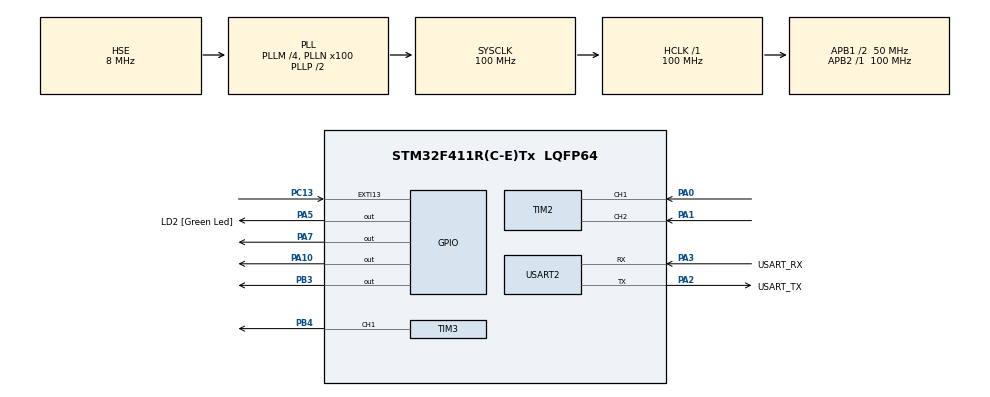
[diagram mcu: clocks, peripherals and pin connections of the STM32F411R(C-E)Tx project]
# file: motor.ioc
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Dma.Request0=USART2_TX
Dma.Request1=USART2_RX
Dma.USART2_RX.1.Direction=DMA_PERIPH_TO_MEMORY
Dma.USART2_RX.1.FIFOMode=DMA_FIFOMODE_DISABLE
Dma.USART2_RX.1.Instance=DMA1_Stream5
Dma.USART2_RX.1.MemDataAlignment=DMA_MDATAALIGN_BYTE
Dma.USART2_RX.1.MemInc=DMA_MINC_ENABLE
Dma.USART2_RX.1.Mode=DMA_NORMAL
Dma.USART2_RX.1.PeriphDataAlignment=DMA_PDATAALIGN_BYTE
Dma.USART2_RX.1.PeriphInc=DMA_PINC_DISABLE
Dma.USART2_RX.1.Priority=DMA_PRIORITY_HIGH
Dma.USART2_TX.0.Direction=DMA_MEMORY_TO_PERIPH
Dma.USART2_TX.0.FIFOMode=DMA_FIFOMODE_DISABLE
Dma.USART2_TX.0.Instance=DMA1_Stream6
Dma.USART2_TX.0.MemDataAlignment=DMA_MDATAALIGN_BYTE
Dma.USART2_TX.0.MemInc=DMA_MINC_ENABLE
Dma.USART2_TX.0.Mode=DMA_NORMAL
Dma.USART2_TX.0.PeriphDataAlignment=DMA_PDATAALIGN_BYTE
Dma.USART2_TX.0.PeriphInc=DMA_PINC_DISABLE
Dma.USART2_TX.0.Priority=DMA_PRIORITY_LOW
Mcu.Family=STM32F4
Mcu.Name=STM32F411R(C-E)Tx
Mcu.Package=LQFP64
NVIC.DMA1_Stream5_IRQn=true\:0\:0\:false\:false\:true\:false\:true\:true
NVIC.DMA1_Stream6_IRQn=true\:0\:0\:false\:false\:true\:false\:true\:true
NVIC.EXTI15_10_IRQn=true\:0\:0\:false\:false\:true\:true\:true\:true
NVIC.PriorityGroup=NVIC_PRIORITYGROUP_4
NVIC.TIM3_IRQn=true\:0\:0\:false\:false\:true\:true\:true\:true
NVIC.TIM4_IRQn=true\:0\:0\:false\:false\:true\:true\:true\:true
NVIC.USART2_IRQn=true\:0\:0\:false\:false\:true\:true\:true\:true
PA0-WKUP.Signal=S_TIM2_CH1_ETR
PA1.Signal=S_TIM2_CH2
PA10.Signal=GPIO_Output
PA13.Mode=Serial_Wire
PA13.Signal=SYS_JTMS-SWDIO
PA14.Mode=Serial_Wire
PA14.Signal=SYS_JTCK-SWCLK
PA2.GPIO_Label=USART_TX
PA2.Mode=Asynchronous
PA2.Signal=USART2_TX
PA3.GPIO_Label=USART_RX
PA3.Mode=Asynchronous
PA3.Signal=USART2_RX
PA5.GPIO_Label=LD2 [Green Led]
PA5.Signal=GPIO_Output
PA7.Signal=GPIO_Output
PB3.Signal=GPIO_Output
PB4.Signal=S_TIM3_CH1
PC13-ANTI_TAMP.Signal=GPXTI13
PH0\ -\ OSC_IN.Mode=HSE-External-Clock-Source
PH0\ -\ OSC_IN.Signal=RCC_OSC_IN
PH1\ -\ OSC_OUT.Mode=HSE-External-Clock-Source
PH1\ -\ OSC_OUT.Signal=RCC_OSC_OUT
ProjectManager.HeapSize=0x200
ProjectManager.StackSize=0x400
ProjectManager.TargetToolchain=CMake
RCC.48MHZClocksFreq_Value=50000000
RCC.AHBFreq_Value=100000000
RCC.APB1CLKDivider=RCC_HCLK_DIV2
RCC.APB1Freq_Value=50000000
RCC.APB1TimFreq_Value=100000000
RCC.APB2Freq_Value=100000000
RCC.APB2TimFreq_Value=100000000
RCC.CortexFreq_Value=100000000
RCC.FLatency-AdvancedSettings=FLASH_LATENCY_3
RCC.HCLKFreq_Value=100000000
RCC.HSE_VALUE=8000000
RCC.HSI_VALUE=16000000
RCC.LSE_VALUE=32768
RCC.PLLM=4
RCC.PLLN=100
RCC.PLLSourceVirtual=RCC_PLLSOURCE_HSE
RCC.SYSCLKFreq_VALUE=100000000
RCC.SYSCLKSource=RCC_SYSCLKSOURCE_PLLCLK
RCC.VCOOutputFreq_Value=200000000
SH.S_TIM2_CH1_ETR.0=TIM2_CH1,Encoder_Interface
SH.S_TIM2_CH2.0=TIM2_CH2,Encoder_Interface
SH.S_TIM3_CH1.0=TIM3_CH1,PWM Generation1 CH1
TIM3.Channel-PWM\ Generation1\ CH1=TIM_CHANNEL_1
TIM3.Period=1000 - 1
TIM3.Prescaler=0
TIM4.Period=1000-1
TIM4.Prescaler=100-1
USART2.VirtualMode=VM_ASYNC
VP_TIM3_VS_ClockSourceINT.Mode=Internal
VP_TIM4_VS_ClockSourceINT.Mode=Internal
board=NUCLEO-F411RE

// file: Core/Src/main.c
/* USER CODE BEGIN Header */
/**
  ******************************************************************************
  * @file           : main.c
  * @brief          : Main program body
  ******************************************************************************
  * @attention
  *
  * Copyright (c) 2026 STMicroelectronics.
  * All rights reserved.
  *
  * This software is licensed under terms that can be found in the LICENSE file
  * in the root directory of this software component.
  * If no LICENSE file comes with this software, it is provided AS-IS.
  *
  ******************************************************************************
  */
/* USER CODE END Header */
#include "main.h"

/* USER CODE BEGIN Includes */
#include <math.h>
#include "motor.h"
/* USER CODE END Includes */

/* USER CODE BEGIN PTD */
//Estructura para enviar datos. Solo creamos una estructura genérica que pueda ser utilizada
// tanto para enviar la dirección del motor como el tiempo y la posición del encoder
typedef struct {
  uint32_t id; //ID para identificar el tipo de dato 1 para dirección, 2 para tiempo y posición)
  uint32_t tiempo_ms; //tiempo o direccion dependiendo del ID
  int32_t  posicion; //posición del encoder (solo se utiliza si el ID es 2)
  float32_t velocidad; //velocidad del motor
  float32_t velocidad_est; //velocidad estimada por el observador de espacio de estados
} DatosPck;
typedef struct{
  uint32_t id; //ID para identificar el tipo de dato 1 para dirección, 2 para PWM)
  int32_t valor; //valor del comando (puede ser el valor de PWM o la dirección dependiendo del ID)
} ComandoPck;
/* USER CODE END PTD */

TIM_HandleTypeDef htim2;
TIM_HandleTypeDef htim3;
TIM_HandleTypeDef htim4;

UART_HandleTypeDef huart2;
DMA_HandleTypeDef hdma_usart2_tx;
DMA_HandleTypeDef hdma_usart2_rx;

/* USER CODE BEGIN PV */
volatile uint8_t flag_timer = 0;//para resetear el timer cada 10ms
volatile uint8_t flag_boton_pulsado = 0; //para indicar si el botón de usuario ha sido pulsado
ComandoPck rx_data; //Estructura para almacenar el comando recibido por UART
/* USER CODE END PV */

void SystemClock_Config(void);
static void MX_GPIO_Init(void);
static void MX_DMA_Init(void);
static void MX_TIM3_Init(void);
static void MX_TIM2_Init(void);
static void MX_USART2_UART_Init(void);
static void MX_TIM4_Init(void);

int main(void)
{

  /* MCU Configuration--------------------------------------------------------*/

  /* Reset of all peripherals, Initializes the Flash interface and the Systick. */
  HAL_Init();

  /* Configure the system clock */
  SystemClock_Config();

  /* Initialize all configured peripherals */
  MX_GPIO_Init();
  MX_DMA_Init();
  MX_TIM3_Init();
  MX_TIM2_Init();
  MX_USART2_UART_Init();
  MX_TIM4_Init();
  /* USER CODE BEGIN 2 */
  MotorControl_Init(); //Inicializar la estructura de control del motor con valores iniciales
  //Iniciar el timer en modo encoder
  HAL_TIM_Encoder_Start(&htim2, TIM_CHANNEL_ALL);
  //Iniciar el timer en modo PWM para controlar la velocidad del motor
  HAL_TIM_PWM_Start(&htim3, TIM_CHANNEL_1);
  //Iniciar el timer para medir el tiempo transcurrido
  HAL_TIM_Base_Start_IT(&htim4);
  //encender el led para indicar que el sistema está funcionando
  HAL_GPIO_WritePin(GPIOA, GPIO_PIN_5, GPIO_PIN_SET);
  //Iniciar la recepción de datos por UART en modo DMA
  HAL_UART_Receive_DMA(&huart2, (uint8_t*)&rx_data, sizeof(rx_data));

  HAL_GPIO_WritePin(GPIOB, GPIO_PIN_3, GPIO_PIN_RESET); //Asegurar que el pin PB3 esté apagado al inicio
  HAL_GPIO_WritePin(GPIOA, GPIO_PIN_7 | GPIO_PIN_10, GPIO_PIN_SET); //Encender los pines PA7 y PA10 para activar los puentes H del motor
  /* USER CODE END 2 */

  /* Infinite loop */
  /* USER CODE BEGIN WHILE */
  static uint8_t contador_telemetria = 0;
  static uint32_t posicion_anterior_telemetria = 0; //Variable para almacenar la posición anterior en la telemetría

  while (1)
  {
    if(flag_boton_pulsado){
      flag_boton_pulsado = 0; //Reiniciar el flag para esperar la próxima pulsación
      GPIO_PinState estado_dir = HAL_GPIO_ReadPin(GPIOB, GPIO_PIN_3);//Leer el estado actual del pin PB3 para determinar la dirección del motor
      //Crear un paquete de datos con el estado de la dirección del motor para enviar por UART
      DatosPck pktdir = {1,(uint32_t)estado_dir,0,0.0f}; //Crear un paquete de datos para enviar la dirección del motor
      HAL_UART_Transmit(&huart2, (uint8_t*)&pktdir, sizeof(pktdir), HAL_MAX_DELAY); //Enviar el paquete de datos por UART
    }

    if(flag_timer){
      flag_timer = 0; //dejar el flag en 0 para esperar la próxima interrupción

      // 1. CONTROL DEL MOTOR (Frecuencia alta: 1 kHz / cada 1 ms)
      Motor_update(); //Actualizar el control del motor y calcular la salida de PWM dependiendo del modo de control actual
      contador_telemetria++;

      // 2. TELEMETRÍA (Frecuencia baja: 100 Hz / cada 10 ms)
      if (contador_telemetria >= 10) {
        contador_telemetria = 0; // Reseteamos

        // Calculamos los pulsos acumulados a lo largo de los 10 ms completos
        int32_t difpos_tel = motor.posicion_actual - posicion_anterior_telemetria;
        posicion_anterior_telemetria = motor.posicion_actual;

        static DatosPck pck_envio;
        pck_envio.id = 2; //Asignar un ID específico para el paquete de posición
        pck_envio.tiempo_ms = HAL_GetTick();
        pck_envio.posicion = motor.posicion_actual;

        // Enviamos a Python la velocidad media real de este bloque de 10ms (10ms = 100Hz)
        pck_envio.velocidad = (float32_t)difpos_tel * 100.0f;

        if (motor.mode == Control_state_space || motor.mode == Control_speed_state_space) {
          pck_envio.velocidad_est = motor.x_hat[1]; //Enviar la velocidad estimada por el observador de espacio de estados
        } else {
          pck_envio.velocidad_est = 0.0f;
        }

        // Solo disparamos el DMA si la UART no está ocupada enviando el paquete anterior.
        if (huart2.gState == HAL_UART_STATE_READY) {
            HAL_UART_Transmit_DMA(&huart2, (uint8_t*)&pck_envio, sizeof(pck_envio));
        }
      }
    }
    /* USER CODE END WHILE */

  }
}

void SystemClock_Config(void)
{
  RCC_OscInitTypeDef RCC_OscInitStruct = {0};
  RCC_ClkInitTypeDef RCC_ClkInitStruct = {0};

  /** Configure the main internal regulator output voltage
  */
  __HAL_RCC_PWR_CLK_ENABLE();
  __HAL_PWR_VOLTAGESCALING_CONFIG(PWR_REGULATOR_VOLTAGE_SCALE1);

  /** Initializes the RCC Oscillators according to the specified parameters
  * in the RCC_OscInitTypeDef structure.
  */
  RCC_OscInitStruct.OscillatorType = RCC_OSCILLATORTYPE_HSE;
  RCC_OscInitStruct.HSEState = RCC_HSE_BYPASS;
  RCC_OscInitStruct.PLL.PLLState = RCC_PLL_ON;
  RCC_OscInitStruct.PLL.PLLSource = RCC_PLLSOURCE_HSE;
  RCC_OscInitStruct.PLL.PLLM = 4;
  RCC_OscInitStruct.PLL.PLLN = 100;
  RCC_OscInitStruct.PLL.PLLP = RCC_PLLP_DIV2;
  RCC_OscInitStruct.PLL.PLLQ = 4;
  if (HAL_RCC_OscConfig(&RCC_OscInitStruct) != HAL_OK)
  {
    Error_Handler();
  }

  /** Initializes the CPU, AHB and APB buses clocks
  */
  RCC_ClkInitStruct.ClockType = RCC_CLOCKTYPE_HCLK|RCC_CLOCKTYPE_SYSCLK
                              |RCC_CLOCKTYPE_PCLK1|RCC_CLOCKTYPE_PCLK2;
  RCC_ClkInitStruct.SYSCLKSource = RCC_SYSCLKSOURCE_PLLCLK;
  RCC_ClkInitStruct.AHBCLKDivider = RCC_SYSCLK_DIV1;
  RCC_ClkInitStruct.APB1CLKDivider = RCC_HCLK_DIV2;
  RCC_ClkInitStruct.APB2CLKDivider = RCC_HCLK_DIV1;

  if (HAL_RCC_ClockConfig(&RCC_ClkInitStruct, FLASH_LATENCY_3) != HAL_OK)
  {
    Error_Handler();
  }
}

static void MX_TIM2_Init(void)
{

  TIM_Encoder_InitTypeDef sConfig = {0};
  TIM_MasterConfigTypeDef sMasterConfig = {0};

  htim2.Instance = TIM2;
  htim2.Init.Prescaler = 0;
  htim2.Init.CounterMode = TIM_COUNTERMODE_UP;
  htim2.Init.Period = 4294967295;
  htim2.Init.ClockDivision = TIM_CLOCKDIVISION_DIV1;
  htim2.Init.AutoReloadPreload = TIM_AUTORELOAD_PRELOAD_DISABLE;
  sConfig.EncoderMode = TIM_ENCODERMODE_TI1;
  sConfig.IC1Polarity = TIM_ICPOLARITY_RISING;
  sConfig.IC1Selection = TIM_ICSELECTION_DIRECTTI;
  sConfig.IC1Prescaler = TIM_ICPSC_DIV1;
  sConfig.IC1Filter = 0;
  sConfig.IC2Polarity = TIM_ICPOLARITY_RISING;
  sConfig.IC2Selection = TIM_ICSELECTION_DIRECTTI;
  sConfig.IC2Prescaler = TIM_ICPSC_DIV1;
  sConfig.IC2Filter = 0;
  if (HAL_TIM_Encoder_Init(&htim2, &sConfig) != HAL_OK)
  {
    Error_Handler();
  }
  sMasterConfig.MasterOutputTrigger = TIM_TRGO_RESET;
  sMasterConfig.MasterSlaveMode = TIM_MASTERSLAVEMODE_DISABLE;
  if (HAL_TIMEx_MasterConfigSynchronization(&htim2, &sMasterConfig) != HAL_OK)
  {
    Error_Handler();
  }

}

static void MX_TIM3_Init(void)
{

  TIM_ClockConfigTypeDef sClockSourceConfig = {0};
  TIM_MasterConfigTypeDef sMasterConfig = {0};
  TIM_OC_InitTypeDef sConfigOC = {0};

  htim3.Instance = TIM3;
  htim3.Init.Prescaler = 0;
  htim3.Init.CounterMode = TIM_COUNTERMODE_UP;
  htim3.Init.Period = 1000 - 1;
  htim3.Init.ClockDivision = TIM_CLOCKDIVISION_DIV1;
  htim3.Init.AutoReloadPreload = TIM_AUTORELOAD_PRELOAD_DISABLE;
  if (HAL_TIM_Base_Init(&htim3) != HAL_OK)
  {
    Error_Handler();
  }
  sClockSourceConfig.ClockSource = TIM_CLOCKSOURCE_INTERNAL;
  if (HAL_TIM_ConfigClockSource(&htim3, &sClockSourceConfig) != HAL_OK)
  {
    Error_Handler();
  }
  if (HAL_TIM_PWM_Init(&htim3) != HAL_OK)
  {
    Error_Handler();
  }
  sMasterConfig.MasterOutputTrigger = TIM_TRGO_RESET;
  sMasterConfig.MasterSlaveMode = TIM_MASTERSLAVEMODE_DISABLE;
  if (HAL_TIMEx_MasterConfigSynchronization(&htim3, &sMasterConfig) != HAL_OK)
  {
    Error_Handler();
  }
  sConfigOC.OCMode = TIM_OCMODE_PWM1;
  sConfigOC.Pulse = 0;
  sConfigOC.OCPolarity = TIM_OCPOLARITY_HIGH;
  sConfigOC.OCFastMode = TIM_OCFAST_DISABLE;
  if (HAL_TIM_PWM_ConfigChannel(&htim3, &sConfigOC, TIM_CHANNEL_1) != HAL_OK)
  {
    Error_Handler();
  }
  HAL_TIM_MspPostInit(&htim3);

}

static void MX_TIM4_Init(void)
{

  TIM_ClockConfigTypeDef sClockSourceConfig = {0};
  TIM_MasterConfigTypeDef sMasterConfig = {0};

  htim4.Instance = TIM4;
  htim4.Init.Prescaler = 100-1;
  htim4.Init.CounterMode = TIM_COUNTERMODE_UP;
  htim4.Init.Period = 1000-1;
  htim4.Init.ClockDivision = TIM_CLOCKDIVISION_DIV1;
  htim4.Init.AutoReloadPreload = TIM_AUTORELOAD_PRELOAD_DISABLE;
  if (HAL_TIM_Base_Init(&htim4) != HAL_OK)
  {
    Error_Handler();
  }
  sClockSourceConfig.ClockSource = TIM_CLOCKSOURCE_INTERNAL;
  if (HAL_TIM_ConfigClockSource(&htim4, &sClockSourceConfig) != HAL_OK)
  {
    Error_Handler();
  }
  sMasterConfig.MasterOutputTrigger = TIM_TRGO_RESET;
  sMasterConfig.MasterSlaveMode = TIM_MASTERSLAVEMODE_DISABLE;
  if (HAL_TIMEx_MasterConfigSynchronization(&htim4, &sMasterConfig) != HAL_OK)
  {
    Error_Handler();
  }

}

static void MX_USART2_UART_Init(void)
{

  huart2.Instance = USART2;
  huart2.Init.BaudRate = 115200;
  huart2.Init.WordLength = UART_WORDLENGTH_8B;
  huart2.Init.StopBits = UART_STOPBITS_1;
  huart2.Init.Parity = UART_PARITY_NONE;
  huart2.Init.Mode = UART_MODE_TX_RX;
  huart2.Init.HwFlowCtl = UART_HWCONTROL_NONE;
  huart2.Init.OverSampling = UART_OVERSAMPLING_16;
  if (HAL_UART_Init(&huart2) != HAL_OK)
  {
    Error_Handler();
  }

}

static void MX_DMA_Init(void)
{

  /* DMA controller clock enable */
  __HAL_RCC_DMA1_CLK_ENABLE();

  /* DMA interrupt init */
  /* DMA1_Stream5_IRQn interrupt configuration */
  HAL_NVIC_SetPriority(DMA1_Stream5_IRQn, 0, 0);
  HAL_NVIC_EnableIRQ(DMA1_Stream5_IRQn);
  /* DMA1_Stream6_IRQn interrupt configuration */
  HAL_NVIC_SetPriority(DMA1_Stream6_IRQn, 0, 0);
  HAL_NVIC_EnableIRQ(DMA1_Stream6_IRQn);

}

static void MX_GPIO_Init(void)
{
  GPIO_InitTypeDef GPIO_InitStruct = {0};

  /* GPIO Ports Clock Enable */
  __HAL_RCC_GPIOC_CLK_ENABLE();
  __HAL_RCC_GPIOH_CLK_ENABLE();
  __HAL_RCC_GPIOA_CLK_ENABLE();
  __HAL_RCC_GPIOB_CLK_ENABLE();

  /*Configure GPIO pin Output Level */
  HAL_GPIO_WritePin(GPIOA, LD2_Pin|GPIO_PIN_7|GPIO_PIN_10, GPIO_PIN_RESET);

  /*Configure GPIO pin Output Level */
  HAL_GPIO_WritePin(GPIOB, GPIO_PIN_3, GPIO_PIN_RESET);

  /*Configure GPIO pin : PC13 */
  GPIO_InitStruct.Pin = GPIO_PIN_13;
  GPIO_InitStruct.Mode = GPIO_MODE_IT_RISING;
  GPIO_InitStruct.Pull = GPIO_NOPULL;
  HAL_GPIO_Init(GPIOC, &GPIO_InitStruct);

  /*Configure GPIO pins : LD2_Pin PA7 PA10 */
  GPIO_InitStruct.Pin = LD2_Pin|GPIO_PIN_7|GPIO_PIN_10;
  GPIO_InitStruct.Mode = GPIO_MODE_OUTPUT_PP;
  GPIO_InitStruct.Pull = GPIO_NOPULL;
  GPIO_InitStruct.Speed = GPIO_SPEED_FREQ_LOW;
  HAL_GPIO_Init(GPIOA, &GPIO_InitStruct);

  /*Configure GPIO pin : PB3 */
  GPIO_InitStruct.Pin = GPIO_PIN_3;
  GPIO_InitStruct.Mode = GPIO_MODE_OUTPUT_PP;
  GPIO_InitStruct.Pull = GPIO_NOPULL;
  GPIO_InitStruct.Speed = GPIO_SPEED_FREQ_LOW;
  HAL_GPIO_Init(GPIOB, &GPIO_InitStruct);

  /* EXTI interrupt init*/
  HAL_NVIC_SetPriority(EXTI15_10_IRQn, 0, 0);
  HAL_NVIC_EnableIRQ(EXTI15_10_IRQn);

}

/* USER CODE BEGIN 4 */

// 1. Callback del timer para actualizar el flag cada 10ms
void HAL_TIM_PeriodElapsedCallback(TIM_HandleTypeDef *htim){
  if(htim->Instance == TIM4){
    flag_timer = 1;
  }
}

// 2. Callback para el botón de usuario (PC13) con filtro anti-rebotes
void HAL_GPIO_EXTI_Callback(uint16_t GPIO_Pin)
{
    static uint32_t ultimo_tiempo_pulsacion = 0;
    uint32_t tiempo_actual = HAL_GetTick();

    if(GPIO_Pin == GPIO_PIN_13)
    {
        if (tiempo_actual - ultimo_tiempo_pulsacion > 200)
        {
            motor.pwm_output = -motor.pwm_output;
            flag_boton_pulsado = 1; //Activar el flag para indicar que el botón ha sido pulsado
            ultimo_tiempo_pulsacion = tiempo_actual;
        }
    }
}

// 3. TU FUNCIÓN ORIGINAL - Adaptada a modo DMA y libre de caracteres invisibles
void HAL_UART_RxCpltCallback(UART_HandleTypeDef *huart)
{
    if(huart->Instance == USART2)
    {
        // ID = 1: Modo manual (Open Loop) - Dirección del motor
        if(rx_data.id == 1){
            motor.mode = Control_pwm_openloop;
            if(rx_data.valor == 0){
                motor.pwm_output = -1.0f * fabsf(motor.pwm_output);
            } else {
                motor.pwm_output = fabsf(motor.pwm_output);
            }
        }
        // ID = 2: Modo manual (Open Loop) - Valor de velocidad PWM
        else if(rx_data.id == 2){
            motor.mode = Control_pwm_openloop;
            if (motor.pwm_output < 0){
                motor.pwm_output = -(float32_t)rx_data.valor;
            } else {
                motor.pwm_output = (float32_t)rx_data.valor;
            }
        }
        // ID = 3: Control clásico de Posición (PID)
        else if(rx_data.id == 3){
            motor.mode = Control_position;
            motor.setpoint_position = rx_data.valor;
        }
        // ID = 4: Control clásico de Velocidad (PID)
        else if(rx_data.id == 4){
            motor.mode = Control_speed;
            motor.setpoint_speed = (float32_t)rx_data.valor;
        }
        // ID = 5: Reset completo de sensores, estimadores y PIDs
        else if(rx_data.id == 5){
            __HAL_TIM_SET_COUNTER(&htim2, 0);
            motor.posicion_actual = 0;
            motor.posicion_anterior = 0;
            motor.velocidad_actual = 0.0f;
            motor.pwm_output = 0.0f;

            motor.setpoint_position = 0;
            motor.setpoint_speed = 0.0f;

            arm_pid_init_f32(&motor.pid_position, 1);
            arm_pid_init_f32(&motor.pid_speed, 1);

            motor.x_hat[0] = 0.0f;
            motor.x_hat[1] = 0.0f;
        }
        // ID = 6: Control por Espacio de Estados - Posición
        else if(rx_data.id == 6){
            motor.mode = Control_state_space;
            motor.setpoint_position = rx_data.valor;
        }
        // ID = 7: Control por Espacio de Estados - Velocidad
        else if(rx_data.id == 7){
            motor.mode = Control_speed_state_space;
            motor.setpoint_speed = (float32_t)rx_data.valor;
        }

        // ¡CLAVE DMA!: Volvemos a armar la recepción usando DMA para el próximo comando
        HAL_UART_Receive_DMA(&huart2, (uint8_t*)&rx_data, sizeof(rx_data));
    }
}

// 4. Callback de Error (Seguridad industrial ante ruidos en el cable USB)
void HAL_UART_ErrorCallback(UART_HandleTypeDef *huart)
{
    if (huart->Instance == USART2)
    {
        HAL_UART_DMAStop(huart); // Detiene transmisiones colapsadas

        // Limpieza de banderas físicas de error de la UART
        __HAL_UART_CLEAR_PEFLAG(huart);
        __HAL_UART_CLEAR_FEFLAG(huart);
        __HAL_UART_CLEAR_NEFLAG(huart);
        __HAL_UART_CLEAR_OREFLAG(huart);

        // Reconectamos el DMA para que siga escuchando a Python
        HAL_UART_Receive_DMA(&huart2, (uint8_t*)&rx_data, sizeof(rx_data));
    }
}

/* USER CODE END 4 */

void Error_Handler(void)
{
  __disable_irq();
  while (1)
  {
  }
}
